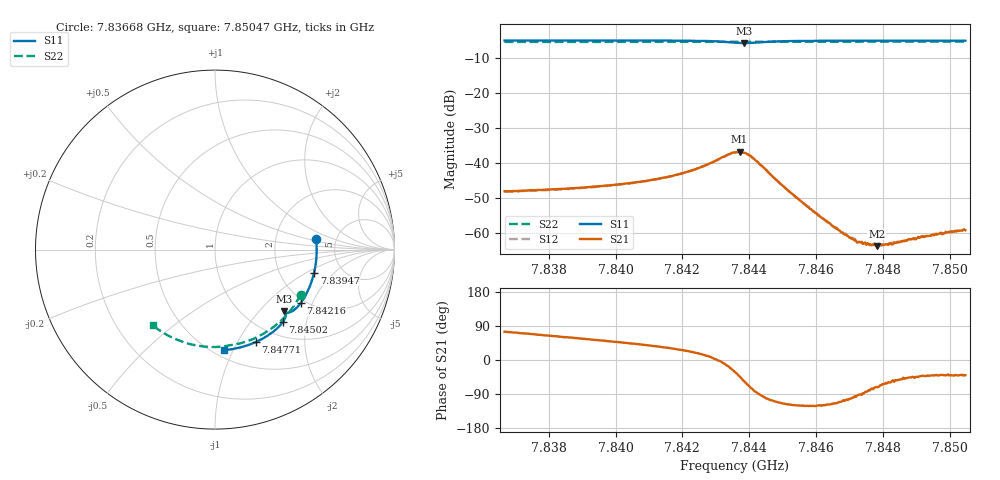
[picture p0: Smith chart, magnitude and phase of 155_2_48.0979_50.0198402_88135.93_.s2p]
#  HZ  S  RI  R  50.00
! Rohde & Schwarz Vector Network Analyzer
! Rohde-Schwarz,ZNB20-2Port,1311601062101988,3.16
! Created: UTC 12/23/2023, 3:50:11 AM
! freq[Hz]  re:S11  im:S11  re:S21  im:S21  re:S12  im:S12  re:S22  im:S22
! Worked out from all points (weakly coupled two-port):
!   401 points, 7.83668 GHz to 7.85047 GHz, reference 50 ohm
!   highest |S21| = -36.79 dB at 7.84371 GHz (marker M1); lowest = -63.8 dB at 7.84781 GHz (marker M2)
!   lowest |S11| = -5.7 dB at 7.84385 GHz (marker M3), VSWR 3.14, Z = 74.2 - j69.6 ohm
!   |S11| at or under -10 dB: nowhere
!   |S22| runs from -5.4 to -5.3 dB; largest |S21 - S12| = 0.00031
!   S11 on the Smith chart (normalised r, x): 7.83668 GHz: 3.50, +0.59; 7.83947 GHz: 3.13, -1.18; 7.84216 GHz: 1.89, -1.65; 7.84502 GHz: 1.26, -1.47; 7.84771 GHz: 0.79, -1.20; 7.85047 GHz: 0.56, -0.92
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7.836682e9  0.5632 0.0568  0.00104 0.0038  0.00108 0.00372  0.4777 -0.2507
7.838991e9  0.5585 -0.0966  0.00244 0.0037  0.00245 0.00364  0.3829 -0.3811
7.839473e9  0.5521 -0.1283  0.00284 0.00365  0.00279 0.00359  0.3583 -0.4044
7.8413e9  0.5098 -0.2451  0.00486 0.00344  0.00481 0.00344  0.2537 -0.4779
7.842161e9  0.4776 -0.2975  0.00687 0.003  0.00682 0.00301  0.1987 -0.5034
7.843057e9  0.4277 -0.3447  0.0112 -0.00021  0.0112 3.46e-05  0.1386 -0.5223
7.843574e9  0.3921 -0.3496  0.012 -0.00735  0.012 -0.00752  0.1041 -0.5291
7.843712e9  0.3876 -0.3461  0.0105 -0.00991  0.0104 -0.00985  0.0952 -0.5304
7.84385e9  0.3871 -0.3433  0.00776 -0.0116  0.00795 -0.0116  0.0866 -0.5321
7.84416e9  0.394 -0.3497  0.0015 -0.0111  0.00174 -0.0111  0.0665 -0.5361
7.845021e9  0.3768 -0.4054  -0.00195 -0.00419  -0.00194 -0.00422  0.00648 -0.5425
7.845883e9  0.3341 -0.4497  -0.00109 -0.00179  -0.00108 -0.0018  -0.0541 -0.5408
7.846538e9  0.2976 -0.4765  -0.000493 -0.00111  -0.00054 -0.00106  -0.0998 -0.5349
7.846986e9  0.2716 -0.4927  -0.000194 -0.00084  -0.000241 -0.000866  -0.1307 -0.5282
7.847261e9  0.2551 -0.5016  -3.25e-05 -0.000739  -3.22e-05 -0.000745  -0.1495 -0.5238
7.847606e9  0.2343 -0.5117  0.000116 -0.00068  0.00013 -0.000649  -0.1726 -0.5167
7.847709e9  0.2279 -0.5148  0.000155 -0.000665  0.000188 -0.000663  -0.1796 -0.5143
7.847813e9  0.2215 -0.5175  0.000208 -0.000612  0.000219 -0.000649  -0.1863 -0.5119
7.847951e9  0.2131 -0.521  0.000266 -0.000614  0.000275 -0.000593  -0.1956 -0.5087
7.848192e9  0.1982 -0.5271  0.000363 -0.000605  0.000366 -0.000587  -0.2112 -0.5025
7.849674e9  0.1029 -0.5532  0.000733 -0.000634  0.000751 -0.000634  -0.3029 -0.454
7.850466e9  0.0506 -0.56  0.00083 -0.000704  0.000834 -0.000751  -0.3477 -0.4212
